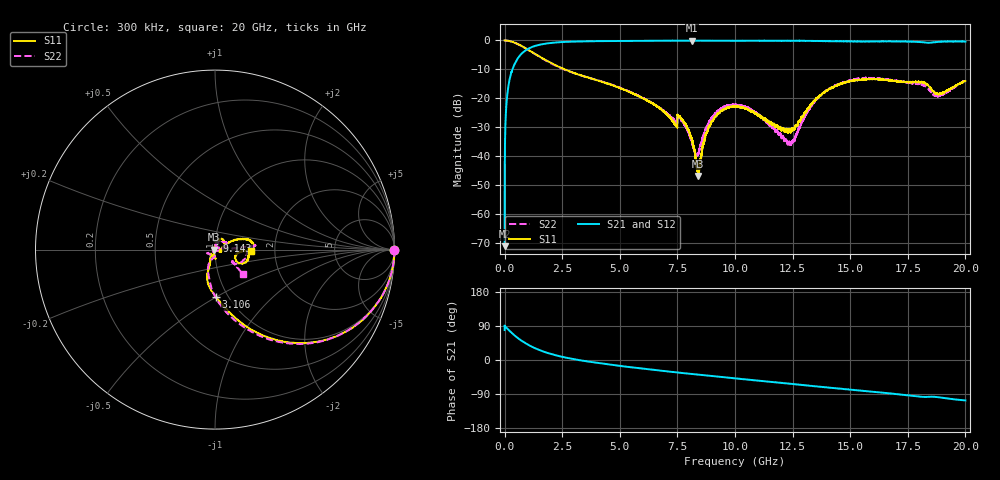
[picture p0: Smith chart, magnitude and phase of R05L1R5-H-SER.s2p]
!{R05L1R5}
!Johanson Technology Inc.
!www.johansontechnology.com
!Test Board Conditions:
!Substrate Type  RO4350B
!Substrate Thickness  10 mil
!Substrate Dk  3.66
!TL Type: GCPW
!TL Trace Width  22 mil
!TL Gap  25 mil
!Electrode orientation  Horizontal
!DUT TOPOLOGY	SERIES
!Mounting Pad LxW  11x14.5 mil
! Created Wed Nov 25 17:33:21 2020
! 2 Port Network Data from SP1.SP block
! freq  magS11  angS11  magS21  angS21  magS12  angS12  magS22  angS22
# khz S ma R 50
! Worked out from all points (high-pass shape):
!   20001 points, 300 kHz to 20 GHz, reference 50 ohm
!   highest |S21| = -0.06 dB at 8.136 GHz (marker M1); lowest = -71.1 dB at 300 kHz (marker M2)
!   |S21| within 3 dB of the highest: 984 MHz to end of sweep
!   lowest |S11| = -46.8 dB at 8.409 GHz (marker M3), VSWR 1.01, Z = 49.5 + j0.013 ohm
!   |S11| at or under -10 dB: 2.614 GHz to end of sweep
!   |S22| runs from -40.3 to 0.0 dB; largest |S21 - S12| = 0.015
!   S11 on the Smith chart (normalised r, x): 300 kHz: open; 3.106 GHz: 0.88, -0.50; 9.143 GHz: 1.02, +0.10; 20 GHz: 1.50, -0.03
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300  0.9994 -0.2  0.0002783 79.0  0.0002943 88.7  1 -0.1
101300  0.9943 -6.2  0.101 83.7  0.1015 83.6  0.9945 -6.1
128300  0.9915 -7.7  0.1275 82.0  0.1283 82.0  0.9908 -7.8
466300  0.9056 -26.1  0.4159 63.1  0.4167 63.2  0.9045 -26.4
1583300  0.5087 -63.9  0.8526 24.5  0.8537 24.5  0.5021 -65.9
3106300  0.2663 -88.5  0.9575 1.1  0.9579 1.1  0.2642 -89.5
3334300  0.248 -91.5  0.9622 -1.3  0.9624 -1.4  0.2471 -91.5
6667300  0.07053 -112.4  0.9891 -27.4  0.99 -27.4  0.07138 -112.7
7399300  0.03466 -130.8  0.9922 -32.2  0.9914 -32.3  0.04046 -93.7
7600300  0.0488 -87.3  0.9902 -33.6  0.9904 -33.6  0.04554 -154.4
8136300  0.01905 -107.0  0.9926 -37.0  0.992 -37.0  0.01715 -127.4
8409300  0.004547 178.3  0.9913 -38.7  0.9912 -38.7  0.0111 -47.4
8777300  0.02531 88.5  0.9897 -40.9  0.9907 -41.0  0.03223 2.0
9143300  0.04818 74.7  0.9899 -43.2  0.9906 -43.3  0.0553 13.7
1.00003e7  0.07189 52.5  0.988 -48.5  0.9872 -48.5  0.07768 27.5
1.23633e7  0.02941 -13.9  0.9898 -62.5  0.9898 -62.6  0.01654 63.6
1.33343e7  0.07936 27.4  0.9827 -68.4  0.983 -68.5  0.07633 4.0
1.47583e7  0.1876 18.3  0.966 -76.8  0.9666 -77.0  0.1918 4.9
1.66673e7  0.2049 -0.6  0.9645 -87.9  0.9555 -87.5  0.2104 4.3
1.81693e7  0.1863 -20.0  0.9257 -97.4  0.9265 -97.1  0.1671 -20.7
1.87603e7  0.1213 -20.8  0.9414 -97.8  0.9406 -97.8  0.1096 -33.8
2e7  0.1995 -2.8  0.9557 -106.8  0.9495 -106.7  0.2062 -40.9
